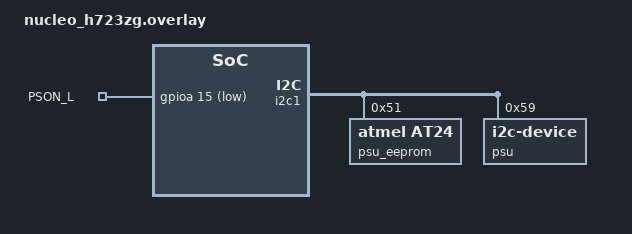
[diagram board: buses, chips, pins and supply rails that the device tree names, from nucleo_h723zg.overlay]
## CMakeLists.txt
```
# SPDX-License-Identifier: Apache-2.0

cmake_minimum_required(VERSION 3.20.0)

find_package(Zephyr REQUIRED HINTS $ENV{ZEPHYR_BASE})
find_package(Python REQUIRED COMPONENTS Interpreter)

project(psucontrol)

target_sources(app PRIVATE
  src/main.c
  src/psu.c
)

set(gen_dir ${ZEPHYR_BINARY_DIR}/include/generated/)

target_link_libraries(app PRIVATE zephyr_interface zephyr)

zephyr_linker_sources(SECTIONS sections-rom.ld)
zephyr_linker_section(
  NAME http_resource_desc_psu_http_service
  KVMA RAM_REGION GROUP RODATA_REGION
)

foreach(web_resource
  index.html
  main.js
)
  generate_inc_file_for_target(app
    src/static_web_resources/${web_resource}
    ${gen_dir}/${web_resource}.gz.inc
    --gzip
  )
endforeach()
```

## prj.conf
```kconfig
# General config
CONFIG_MAIN_STACK_SIZE=2048
CONFIG_SYSTEM_WORKQUEUE_STACK_SIZE=2048
CONFIG_NET_RX_STACK_SIZE=2048
CONFIG_NET_TX_STACK_SIZE=2048
CONFIG_HEAP_MEM_POOL_SIZE=32768
CONFIG_SHELL=y
CONFIG_LOG=y
CONFIG_FPU=y
CONFIG_ENTROPY_GENERATOR=y
CONFIG_TEST_RANDOM_GENERATOR=n
CONFIG_INIT_STACKS=y
CONFIG_THREAD_STACK_INFO=y
CONFIG_THREAD_MONITOR=y
CONFIG_POSIX_API=y
CONFIG_ZVFS_POLL_MAX=48
CONFIG_ZVFS_EVENTFD_MAX=16

# Eventfd
CONFIG_EVENTFD=y

# Networking config
CONFIG_NETWORKING=y
CONFIG_NET_MGMT_EVENT_INFO=y
CONFIG_NET_CONNECTION_MANAGER=y
CONFIG_NET_IPV4=y
CONFIG_NET_IPV4_IGMP=y
CONFIG_NET_IPV4_MTU=1500
CONFIG_NET_IPV6=n
CONFIG_NET_TCP=y
CONFIG_NET_SOCKETS=y
CONFIG_NET_SHELL=y
CONFIG_NET_STATISTICS=y
CONFIG_NET_STATISTICS_USER_API=y
CONFIG_NET_LOG=y

# JSON
CONFIG_JSON_LIBRARY=y

# HTTP parser
CONFIG_HTTP_PARSER_URL=y
CONFIG_HTTP_PARSER=y
CONFIG_HTTP_SERVER=y

# Network buffers
CONFIG_NET_PKT_RX_COUNT=64
CONFIG_NET_PKT_TX_COUNT=32
CONFIG_NET_BUF_RX_COUNT=512
CONFIG_NET_BUF_TX_COUNT=256
CONFIG_NET_CONTEXT_NET_PKT_POOL=y
CONFIG_NET_BUF_POOL_USAGE=y
CONFIG_NET_DEBUG_NET_PKT_ALLOC=y

# IP address options
CONFIG_NET_IF_MCAST_IPV4_ADDR_COUNT=8
CONFIG_NET_IF_MAX_IPV4_COUNT=3
CONFIG_NET_MAX_CONTEXTS=64
CONFIG_NET_MAX_CONN=64

# Network address config
CONFIG_NET_CONFIG_SETTINGS=y
CONFIG_NET_CONFIG_NEED_IPV4=y
CONFIG_NET_DHCPV4=y
CONFIG_MDNS_RESPONDER=y
CONFIG_DNS_SD=y
CONFIG_MDNS_RESPONDER_DNS_SD=y
CONFIG_NET_SOCKETS_POLL_MAX=16
CONFIG_NET_HOSTNAME="t0-psu-"
CONFIG_NET_HOSTNAME_UNIQUE=y

# Networking tweaks
CONFIG_NET_TCP_TIME_WAIT_DELAY=0

# Device drivers
CONFIG_GPIO=y
CONFIG_LED=y
CONFIG_I2C=y
CONFIG_I2C_SHELL=y
CONFIG_EEPROM=y

# Network debug config
CONFIG_MDNS_RESPONDER_LOG_LEVEL_INF=y
CONFIG_DNS_SD_LOG_LEVEL_INF=y
```

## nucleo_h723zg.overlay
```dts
/* I2C power supply overlay */

/ {
	psu_control {
		compatible = "gpio-keys";
		pson_l: pson_l {
			gpios = <&gpioa 15 GPIO_ACTIVE_LOW>;
			label = "PSON_L";
		};
	};
};

&i2c1 {
	status = "okay";

	psu_eeprom: eeprom@51 {
		compatible = "atmel,at24";
		reg = <0x51>;  /* 0xa2 >> 1 */
		size = <256>;
		pagesize = <16>;
		address-width = <8>;
		timeout = <5>;
	};

	psu: power-supply@59 {
		compatible = "i2c-device";
		reg = <0x59>;  /* 0xb2 >> 1 - PMBus device */
		status = "okay";
	};
};
```

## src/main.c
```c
/*
 * Copyright (c) 2023, Emna Rekik
 * Copyright (c) 2024, Nordic Semiconductor
 * Copyright (c) 2026, t0.technology
 *
 * SPDX-License-Identifier: Apache-2.0
 */

#include <stdio.h>
#include <inttypes.h>

#include <zephyr/data/json.h>
#include <zephyr/device.h>
#include <zephyr/drivers/led.h>
#include <zephyr/kernel.h>
#include <zephyr/logging/log.h>
#include <zephyr/net/conn_mgr_connectivity.h>
#include <zephyr/net/dns_sd.h>
#include <zephyr/net/hostname.h>
#include <zephyr/net/http/server.h>
#include <zephyr/net/http/service.h>
#include <zephyr/net/mdns_responder.h>
#include <zephyr/net/net_config.h>
#include <zephyr/net/net_ip.h>
#include <zephyr/net/net_mgmt.h>
#include <zephyr/net/socket.h>
#include <zephyr/sys/util.h>
#include <zephyr/sys/util_macro.h>

#include "psu.h"

#include <zephyr/logging/log.h>
LOG_MODULE_REGISTER(psu_control, LOG_LEVEL_DBG);

struct psu_command {
	bool output_state;
};

static const struct json_obj_descr psu_command_descr[] = {
	JSON_OBJ_DESCR_PRIM(struct psu_command, output_state, JSON_TOK_TRUE),
};

struct psu_reg_command {
    uint8_t reg;
    uint16_t value;
};

static const struct json_obj_descr psu_reg_command_descr[] = {
    JSON_OBJ_DESCR_PRIM(struct psu_reg_command, reg, JSON_TOK_NUMBER),
    JSON_OBJ_DESCR_PRIM(struct psu_reg_command, value, JSON_TOK_NUMBER),
};

static void parse_psu_reg_post(uint8_t *buf, size_t len)
{
    struct psu_reg_command cmd;
    int ret;

    const int expected = BIT_MASK(ARRAY_SIZE(psu_reg_command_descr));

    ret = json_obj_parse(buf, len,
                         psu_reg_command_descr,
                         ARRAY_SIZE(psu_reg_command_descr),
                         &cmd);

    if (ret != expected) {
        LOG_WRN("Invalid register JSON, ret=%d", ret);
        return;
    }

    LOG_INF("Testing reg 0x%02X with value 0x%04X", cmd.reg, cmd.value);

    psu_test_register(cmd.reg, cmd.value);
}

static const struct device *leds_dev = DEVICE_DT_GET_ANY(gpio_leds);

static uint8_t index_html_gz[] = {
#include "index.html.gz.inc"
};

static uint8_t main_js_gz[] = {
#include "main.js.gz.inc"
};

static struct http_resource_detail_static index_html_gz_resource_detail = {
	.common = {
			.type = HTTP_RESOURCE_TYPE_STATIC,
			.bitmask_of_supported_http_methods = BIT(HTTP_GET),
			.content_encoding = "gzip",
			.content_type = "text/html",
		},
	.static_data = index_html_gz,
	.static_data_len = sizeof(index_html_gz),
};

static struct http_resource_detail_static main_js_gz_resource_detail = {
	.common = {
			.type = HTTP_RESOURCE_TYPE_STATIC,
			.bitmask_of_supported_http_methods = BIT(HTTP_GET),
			.content_encoding = "gzip",
			.content_type = "text/javascript",
		},
	.static_data = main_js_gz,
	.static_data_len = sizeof(main_js_gz),
};

static int uptime_handler(struct http_client_ctx *client, enum http_transaction_status status,
			  const struct http_request_ctx *request_ctx,
			  struct http_response_ctx *response_ctx, void *user_data)
{
	int ret;
	static uint8_t uptime_buf[64];

	if (status == HTTP_SERVER_TRANSACTION_ABORTED ||
	    status == HTTP_SERVER_TRANSACTION_COMPLETE) {
		return 0;
	}

	/* A payload is not expected with the GET request. Ignore any data and wait until
	 * final callback before sending response
	 */
	if (status == HTTP_SERVER_REQUEST_DATA_FINAL) {
		int64_t uptime_ms = k_uptime_get();
		int64_t total_seconds = uptime_ms / 1000;
		int hours = total_seconds / 3600;
		int minutes = (total_seconds % 3600) / 60;
		int seconds = total_seconds % 60;

		ret = snprintf(uptime_buf, sizeof(uptime_buf), "%d:%02d:%02d",
			       hours, minutes, seconds);
		if (ret < 0)
			return ret;

		response_ctx->body = uptime_buf;
		response_ctx->body_len = ret;
		response_ctx->final_chunk = true;
	}

	return 0;
}

static struct http_resource_detail_dynamic uptime_resource_detail = {
	.common = {
			.type = HTTP_RESOURCE_TYPE_DYNAMIC,
			.bitmask_of_supported_http_methods = BIT(HTTP_GET),
		},
	.cb = uptime_handler,
	.user_data = NULL,
};

static void parse_psu_post(uint8_t *buf, size_t len)
{
	int ret;
	struct psu_command cmd;
	const int expected_return_code = BIT_MASK(ARRAY_SIZE(psu_command_descr));

	ret = json_obj_parse(buf, len, psu_command_descr, ARRAY_SIZE(psu_command_descr), &cmd);
	if (ret != expected_return_code) {
		LOG_WRN("Failed to fully parse JSON payload, ret=%d", ret);
		return;
	}

	LOG_INF("POST request setting PSU output to %d", cmd.output_state);

	/* Control PSU output */
	ret = psu_set_output(cmd.output_state);
	if (ret < 0)
		LOG_ERR("Failed to set PSU output: %d", ret);

	/* Also control LED if available */
	if (leds_dev != NULL) {
		if (cmd.output_state)
			led_on(leds_dev, 0);
		else
			led_off(leds_dev, 0);
	}
}

static int psu_control_handler(struct http_client_ctx *client, enum http_transaction_status status,
		       const struct http_request_ctx *request_ctx,
		       struct http_response_ctx *response_ctx, void *user_data)
{
	static uint8_t post_payload_buf[32];
	static size_t cursor;

	if (status == HTTP_SERVER_TRANSACTION_ABORTED ||
	    status == HTTP_SERVER_TRANSACTION_COMPLETE) {
		cursor = 0;
		return 0;
	}

	if (request_ctx->data_len + cursor > sizeof(post_payload_buf)) {
		cursor = 0;
		return -ENOMEM;
	}

	/* Copy payload to our buffer. Note that even for a small payload, it may arrive split into
	 * chunks (e.g. if the header size was such that the whole HTTP request exceeds the size of
	 * the client buffer).
	 */
	memcpy(post_payload_buf + cursor, request_ctx->data, request_ctx->data_len);
	cursor += request_ctx->data_len;

	if (status == HTTP_SERVER_REQUEST_DATA_FINAL) {
		parse_psu_post(post_payload_buf, cursor);
		cursor = 0;
	}

	return 0;
}

static struct http_resource_detail_dynamic psu_control_resource_detail = {
	.common = {
			.type = HTTP_RESOURCE_TYPE_DYNAMIC,
			.bitmask_of_supported_http_methods = BIT(HTTP_POST),
		},
	.cb = psu_control_handler,
	.user_data = NULL,
};

static int psu_telemetry_handler(struct http_client_ctx *client, enum http_transaction_status status,
				 const struct http_request_ctx *request_ctx,
				 struct http_response_ctx *response_ctx, void *user_data)
{
	static char json_buf[256];
	int ret;

	if (status == HTTP_SERVER_TRANSACTION_ABORTED ||
	    status == HTTP_SERVER_TRANSACTION_COMPLETE) {
		return 0;
	}

	if (status == HTTP_SERVER_REQUEST_DATA_FINAL) {
		float vin = 0, vout = 0, iout = 0, temp = 0,  oringtemp = 0, outlettemp = 0;
		int fan_rpm = 0;
		bool output_on = false;
		int ret_vin, ret_vout, ret_iout, ret_temp, ret_oringtemp, ret_outlettemp, ret_fan;

		/* Read all telemetry */
		ret_vin = psu_get_voltage_in(&vin);
		ret_vout = psu_get_voltage_out(&vout);
		ret_iout = psu_get_current_out(&iout);
		ret_temp = psu_get_temp_inlet(&temp); // can add other sensors too if desired
		ret_oringtemp = psu_get_temp_oring(&oringtemp);
		ret_outlettemp = psu_get_temp_outlet(&outlettemp);
		ret_fan = psu_get_fan_speed(&fan_rpm);
		psu_get_output_status(&output_on);

		char fault_buf[256];
		psu_get_faults(fault_buf, sizeof(fault_buf));

		// test buffer
		// snprintf(fault_buf, sizeof(fault_buf), "\"TESTING\"");

		/* Format as JSON - use integer formatting to avoid float printf */
		ret = snprintf(json_buf, sizeof(json_buf),
			"{\"vin\":%d.%02d,\"vout\":%d.%02d,\"iout\":%d.%03d,"
			"\"temp_inlet\":%d.%d,\"temp_oring\":%d.%d,\"temp_outlet\":%d.%d,"
			"\"fan_rpm\":%d,\"output_on\":%s,\"faults\":[%s]}",
			(int)vin, (int)(vin * 100) % 100,
			(int)vout, (int)(vout * 100) % 100,
			(int)iout, (int)(iout * 1000) % 1000,
			(int)temp, (int)(temp * 10) % 10,
			(int)oringtemp, (int)(oringtemp * 10) % 10,
			(int)outlettemp, (int)(outlettemp * 10) % 10,
			fan_rpm, output_on ? "true" : "false",
			fault_buf
		);

		if (ret < 0 || ret >= sizeof(json_buf)) {
			LOG_ERR("Failed to format PSU JSON");
			return -ENOMEM;
		}

		response_ctx->body = json_buf;
		response_ctx->body_len = ret;
		response_ctx->final_chunk = true;
	}

	return 0;
}

static int psu_clear_faults_handler(struct http_client_ctx *client,
				    enum http_transaction_status status,
				    const struct http_request_ctx *request_ctx,
				    struct http_response_ctx *response_ctx,
				    void *user_data)
{
	if (status == HTTP_SERVER_TRANSACTION_ABORTED ||
	    status == HTTP_SERVER_TRANSACTION_COMPLETE) {
		return 0;
	}

	if (status == HTTP_SERVER_REQUEST_DATA_FINAL) {
		int ret = reset_psu_faults();

		if (ret < 0) {
			LOG_ERR("Failed to clear PSU faults: %d", ret);
		} else {
			LOG_INF("PSU faults cleared");
		}

		/* Simple response */
		static const char response[] = "OK";
		response_ctx->body = response;
		response_ctx->body_len = sizeof(response) - 1;
		response_ctx->final_chunk = true;
	}

	return 0;
}


static struct http_resource_detail_dynamic psu_resource_detail = {
	.common = {
			.type = HTTP_RESOURCE_TYPE_DYNAMIC,
			.bitmask_of_supported_http_methods = BIT(HTTP_GET),
		},
	.cb = psu_telemetry_handler,
	.user_data = NULL,
};

static uint16_t psu_http_service_port = 80;
HTTP_SERVICE_DEFINE(psu_http_service, NULL, &psu_http_service_port,
		    CONFIG_HTTP_SERVER_MAX_CLIENTS, 10, NULL, NULL, NULL);

/* Dynamic DNS-SD service registration with unique instance name */
static char psu_service_instance[DNS_SD_INSTANCE_MAX_SIZE + 1];
static uint16_t psu_http_port_be;
static struct dns_sd_rec psu_service_record;
static bool service_registered;
static int network_connected_count = 0;
static struct http_resource_detail_dynamic psu_clear_faults_resource_detail = {
	.common = {
		.type = HTTP_RESOURCE_TYPE_DYNAMIC,
		.bitmask_of_supported_http_methods = BIT(HTTP_POST),
	},
	.cb = psu_clear_faults_handler,
	.user_data = NULL,
};

HTTP_RESOURCE_DEFINE(psu_clear_faults_resource,
		     psu_http_service,
		     "/psu-clear-faults",
		     &psu_clear_faults_resource_detail);

HTTP_RESOURCE_DEFINE(index_html_gz_resource, psu_http_service, "/",
		     &index_html_gz_resource_detail);

HTTP_RESOURCE_DEFINE(main_js_gz_resource, psu_http_service, "/main.js",
		     &main_js_gz_resource_detail);

HTTP_RESOURCE_DEFINE(uptime_resource, psu_http_service, "/uptime", &uptime_resource_detail);

HTTP_RESOURCE_DEFINE(psu_control_resource, psu_http_service, "/psu-control", &psu_control_resource_detail);

HTTP_RESOURCE_DEFINE(psu_resource, psu_http_service, "/psu", &psu_resource_detail);

/* Register DNS-SD service with unique instance name based on MAC address */
static void register_dns_sd_service(struct net_if *iface)
{
	struct net_linkaddr *lladdr;
	int pos;

	if (service_registered)
		return;

	lladdr = net_if_get_link_addr(iface);
	if (lladdr == NULL || lladdr->len == 0) {
		LOG_ERR("Failed to get link address for DNS-SD service registration");
		return;
	}

	/* Create unique service instance name: "t0-psu-<MAC>" */
	pos = snprintk(psu_service_instance, sizeof(psu_service_instance), "t0-psu-");
	for (int i = 0; i < lladdr->len && pos < sizeof(psu_service_instance) - 2; i++) {
		pos += snprintk(&psu_service_instance[pos],
				sizeof(psu_service_instance) - pos,
				"%02x", lladdr->addr[i]);
	}

	/* Setup service record */
	psu_http_port_be = sys_cpu_to_be16(psu_http_service_port);
	psu_service_record.instance = psu_service_instance;
	psu_service_record.service = "_t0-psu";
	psu_service_record.proto = "_tcp";
	psu_service_record.domain = "local";
	psu_service_record.text = dns_sd_empty_txt;
	psu_service_record.text_size = sizeof(dns_sd_empty_txt);
	psu_service_record.port = &psu_http_port_be;

	/* Register with mDNS responder */
	if (mdns_responder_set_ext_records(&psu_service_record, 1) == 0)
		service_registered = true;
}

/* Set unique hostname based on MAC address */
static void set_unique_hostname(struct net_if *iface)
{
	struct net_linkaddr *lladdr;

	lladdr = net_if_get_link_addr(iface);
	if (lladdr == NULL || lladdr->len == 0) {
		LOG_ERR("Failed to get link address for hostname");
		return;
	}

	/* Set hostname postfix using MAC address (will be hex-encoded) */
	net_hostname_set_postfix(lladdr->addr, lladdr->len);
}

/* Handle network connected/disconnected events */
static void network_event_handler(struct net_mgmt_event_callback *cb,
				  uint64_t mgmt_event, struct net_if *iface)
{
	if (mgmt_event == NET_EVENT_L4_CONNECTED) {
		char addr_str[NET_IPV4_ADDR_LEN];
		struct net_if_ipv4 *ipv4 = iface->config.ip.ipv4;

		network_connected_count++;

		LOG_INF("=== Network Connected Event #%d (uptime=%" PRId64 "ms) ===",
			network_connected_count, k_uptime_get());
		LOG_INF("  Interface: %d (%p)", net_if_get_by_iface(iface), iface);

		if (ipv4 && ipv4->unicast[0].ipv4.addr_state == NET_ADDR_PREFERRED) {
			net_addr_ntop(AF_INET, &ipv4->unicast[0].ipv4.address.in_addr,
				      addr_str, sizeof(addr_str));
			LOG_INF("  IP Address: %s", addr_str);
		}

		/* Set unique hostname before announcing */
		set_unique_hostname(iface);

		/* Register DNS-SD service - no manual IF_UP trigger needed */
		register_dns_sd_service(iface);
	} else if (mgmt_event == NET_EVENT_L4_DISCONNECTED) {
		LOG_WRN("=== Network Disconnected Event (uptime=%" PRId64 "ms) ===",
			k_uptime_get());
		service_registered = false;
	}
}

static struct net_mgmt_event_callback network_cb;

static int network_setup(void)
{
	net_mgmt_init_event_callback(&network_cb, network_event_handler,
				     NET_EVENT_L4_CONNECTED | NET_EVENT_L4_DISCONNECTED);
	net_mgmt_add_event_callback(&network_cb);
	return 0;
}

static int psu_test_reg_handler(struct http_client_ctx *client,
    enum http_transaction_status status,
    const struct http_request_ctx *request_ctx,
    struct http_response_ctx *response_ctx,
    void *user_data)
{
    static uint8_t buf[32];
    static size_t cursor;

    if (status == HTTP_SERVER_TRANSACTION_ABORTED ||
        status == HTTP_SERVER_TRANSACTION_COMPLETE) {
        cursor = 0;
        return 0;
    }

    if (request_ctx->data_len + cursor > sizeof(buf)) {
        cursor = 0;
        return -ENOMEM;
    }

    memcpy(buf + cursor, request_ctx->data, request_ctx->data_len);
    cursor += request_ctx->data_len;

    if (status == HTTP_SERVER_REQUEST_DATA_FINAL) {
        parse_psu_reg_post(buf, cursor);
        cursor = 0;

        static const char response[] = "OK";
        response_ctx->body = response;
        response_ctx->body_len = sizeof(response) - 1;
        response_ctx->final_chunk = true;
    }

    return 0;
}

static struct http_resource_detail_dynamic psu_test_reg_resource_detail = {
    .common = {
        .type = HTTP_RESOURCE_TYPE_DYNAMIC,
        .bitmask_of_supported_http_methods = BIT(HTTP_POST),
    },
    .cb = psu_test_reg_handler,
    .user_data = NULL,
};

HTTP_RESOURCE_DEFINE(psu_test_reg_resource,
    psu_http_service,
    "/psu-test-register",
    &psu_test_reg_resource_detail);

SYS_INIT(network_setup, APPLICATION, CONFIG_APPLICATION_INIT_PRIORITY);

int main(void)
{
	LOG_INF("=== PSU Controller Starting ===");
	LOG_INF("  Build: %s %s", __DATE__, __TIME__);
	LOG_INF("  HTTP Port: %d", psu_http_service_port);

	psu_test();
	http_server_start();

	LOG_INF("HTTP server started");
	return 0;
}
```

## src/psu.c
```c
/*
 * PSU Interface Implementation
 */

#include "psu.h"
#include <zephyr/kernel.h>
#include <zephyr/device.h>
#include <zephyr/drivers/i2c.h>
#include <zephyr/drivers/eeprom.h>
#include <zephyr/drivers/gpio.h>
#include <zephyr/logging/log.h>
#include <string.h>
#include <math.h>

LOG_MODULE_REGISTER(psu, LOG_LEVEL_INF);

#define PSU_EEPROM_NODE DT_NODELABEL(psu_eeprom)
#define PSU_NODE DT_NODELABEL(psu)
#define PSON_L_NODE DT_NODELABEL(pson_l)

#define ADDSTAT(msg) offset += snprintf(buf+offset, buflen-offset, "%s\"%s\"", offset ? "," : "", msg)

static const struct device *eeprom_dev = DEVICE_DT_GET(PSU_EEPROM_NODE);

static const struct device *psu_i2c_dev = DEVICE_DT_GET(DT_BUS(PSU_NODE));
static const uint8_t psu_addr = DT_REG_ADDR(PSU_NODE);

static const struct gpio_dt_spec pson_l = GPIO_DT_SPEC_GET(PSON_L_NODE, gpios);

void psu_test(void)
{
	/* Initialize PSON_L GPIO */
	if (gpio_is_ready_dt(&pson_l)) {
		gpio_pin_configure_dt(&pson_l, GPIO_OUTPUT_ACTIVE); /* <-- Setting PSON_L to ON on startup!*/
		LOG_INF("PSON_L GPIO (PA15) initialized - PSU enabled");
	} else {
		LOG_ERR("PSON_L GPIO not ready");
	}

	uint8_t data[32];
	int ret;

	if (device_is_ready(eeprom_dev)) {
		ret = eeprom_read(eeprom_dev, 0, data, sizeof(data));
		if (ret == 0) {
			LOG_INF("PSU EEPROM (0x51) accessible");
			LOG_HEXDUMP_INF(data, sizeof(data), "EEPROM data:");
		} else {
			LOG_ERR("Failed to read PSU EEPROM: %d", ret);
		}
	} else {
		LOG_ERR("PSU EEPROM device not ready");
	}

	uint8_t value;
	char mfr_id[32], mfr_model[32], mfr_rev[32], mfr_serial[32];

	if (device_is_ready(psu_i2c_dev)) {
		/* Try to read PMBus CAPABILITY register (0x19) using I2C */
		uint8_t cmd = 0x19;
		int ret = i2c_write_read(psu_i2c_dev, psu_addr, &cmd, 1, &value, 1);
		if (ret == 0) {
			LOG_INF("PMBus PSU (0x59) accessible, CAPABILITY=0x%02x", value);
		} else {
			LOG_ERR("Failed to read PMBus PSU: %d", ret);
		}

		/* Read manufacturer information */
		if (psu_get_mfr_id(mfr_id, sizeof(mfr_id)) == 0) {
			LOG_INF("MFR_ID: %s", mfr_id);
		}
		if (psu_get_mfr_model(mfr_model, sizeof(mfr_model)) == 0) {
			LOG_INF("MFR_MODEL: %s", mfr_model);
		}
		if (psu_get_mfr_revision(mfr_rev, sizeof(mfr_rev)) == 0) {
			LOG_INF("MFR_REVISION: %s", mfr_rev);
		}
		if (psu_get_mfr_serial(mfr_serial, sizeof(mfr_serial)) == 0) {
			LOG_INF("MFR_SERIAL: %s", mfr_serial);
		}
	} else {
		LOG_ERR("PSU I2C bus not ready");
	}
}

int psu_read_byte(uint8_t reg, uint8_t *value)
{
	if (!device_is_ready(psu_i2c_dev))
		return -ENODEV;

	return i2c_write_read(psu_i2c_dev, psu_addr, &reg, 1, value, 1);
}

int psu_read_word(uint8_t reg, uint16_t *value)
{
	uint8_t data[2];
	int ret;

	if (!device_is_ready(psu_i2c_dev)) {
		return -ENODEV;
	}

	ret = i2c_write_read(psu_i2c_dev, psu_addr, &reg, 1, data, 2);
	if (ret == 0) {
		/* PMBus uses little-endian byte order */
		*value = data[0] | (data[1] << 8);
	}
	if (ret != 0) {
		LOG_ERR("I2C read failed: reg=0x%02x err=%d", reg, ret);
	}
	return ret;
}

int psu_write_byte(uint8_t reg, uint8_t value)
{
	uint8_t data[2] = {reg, value};

	if (!device_is_ready(psu_i2c_dev)) {
		return -ENODEV;
	}
	return i2c_write(psu_i2c_dev, data, 2, psu_addr);
}

int psu_write_word(uint8_t reg, uint16_t value)
{
	uint8_t data[3];
    data[0] = reg;
    data[1] = value & 0xFF;        // LSB
    data[2] = (value >> 8) & 0xFF; // MSB

    if (!device_is_ready(psu_i2c_dev)) {
        return -ENODEV;
    }

    return i2c_write(psu_i2c_dev, data, 3, psu_addr);
}

/* PMBus block read - first byte is length */
static int psu_block_read(uint8_t reg, uint8_t *data, size_t max_len)
{
	uint8_t len;
	int ret;

	if (!device_is_ready(psu_i2c_dev)) {
		return -ENODEV;
	}

	/* Read length byte first */
	ret = i2c_write_read(psu_i2c_dev, psu_addr, &reg, 1, &len, 1);
	if (ret != 0) {
		return ret;
	}

	if (len == 0 || len > max_len) {
		return -EINVAL;
	}

	/* Read the actual data */
	ret = i2c_write_read(psu_i2c_dev, psu_addr, &reg, 1, data, len + 1);
	if (ret == 0) {
		/* First byte is length, shift data down */
		memmove(data, data + 1, len);
		data[len] = '\0'; /* Null terminate */
	}
	return ret;
}

int psu_eeprom_read(uint32_t offset, uint8_t *data, size_t len)
{
	if (!device_is_ready(eeprom_dev)) {
		return -ENODEV;
	}
	return eeprom_read(eeprom_dev, offset, data, len);
}

/* Convert PMBus LINEAR11 format to float */
static float linear11_to_float(uint16_t value)
{
	int16_t exponent = (value >> 11) & 0x1F;  /* Extract 5-bit exponent */
	int16_t mantissa = value & 0x7FF;         /* Extract 11-bit mantissa */

	/* Sign extend exponent from 5 bits to 16 bits */
	if (exponent & 0x10) {
		exponent |= 0xFFE0;  /* Sign extend from bit 4 */
	}

	/* Sign extend mantissa from 11 bits to 16 bits */
	if (mantissa & 0x400) {
		mantissa |= 0xF800;  /* Sign extend from bit 10 */
	}

	return (float)mantissa * powf(2.0f, (float)exponent);
}

/* PMBus Telemetry Functions */
int psu_get_voltage_in(float *volts)
{
	uint16_t raw;
	int ret = psu_read_word(0x88, &raw); /* READ_VIN */
	if (ret == 0) {
		*volts = linear11_to_float(raw);
		LOG_DBG("VIN raw=0x%04x decoded=%.2f", raw, (double)*volts);
	}
	return ret;
}

int psu_get_voltage_out(float *volts)
{
	uint16_t raw;
	uint8_t vout_mode;
	int ret;

	/* Read VOUT_MODE to get exponent */
	ret = psu_read_byte(0x20, &vout_mode);
	if (ret != 0) {
		return ret;
	}

	ret = psu_read_word(0x8B, &raw); /* READ_VOUT */
	if (ret == 0) {
		/* VOUT uses LINEAR16 format with mode-specific exponent */
		int8_t exponent = (int8_t)(vout_mode & 0x1F);
		/* Sign extend from 5 bits */
		if (exponent & 0x10) {
			exponent |= 0xE0;
		}
		*volts = (float)(int16_t)raw * powf(2.0f, (float)exponent);
		LOG_DBG("VOUT mode=0x%02x raw=0x%04x exp=%d decoded=%.2f",
			vout_mode, raw, exponent, (double)*volts);
	}
	return ret;
}

int psu_get_current_out(float *amps)
{
	uint16_t raw;
	int ret = psu_read_word(0x8C, &raw); /* READ_IOUT */
	if (ret == 0) {
		*amps = linear11_to_float(raw);
	}
	return ret;
}

int psu_get_temp_sensor(uint8_t reg, float *celsius) {
    uint16_t raw;
    int ret = psu_read_word(reg, &raw);
    if (ret == 0) {
        *celsius = linear11_to_float(raw);
    }
    return ret;
}

int psu_get_temp_inlet(float *celsius) {
	return psu_get_temp_sensor(0x8D, celsius);
}

int psu_get_temp_oring(float *celsius) {
	return psu_get_temp_sensor(0x8E, celsius);
}

int psu_get_temp_outlet(float *celsius) {
	return psu_get_temp_sensor(0x8F, celsius);
}

// int psu_get_temperature(float *celsius)
// {
// 	uint16_t raw;
// 	int ret = psu_read_word(0x8D, &raw); /* READ_TEMPERATURE_1 */
// 	if (ret == 0) {
// 		*celsius = linear11_to_float(raw);
// 	}
// 	return ret;
// }

int psu_get_fan_speed(int *rpm)
{
	uint16_t raw;
	int ret = psu_read_word(0x90, &raw); /* READ_FAN_SPEED_1 */
	if (ret == 0) {
		*rpm = (int)linear11_to_float(raw);
	}
	return ret;
}

int psu_set_output(bool enable)
{
	int ret = 0;

	/* Control PSON_L pin (active low) */
	if (gpio_is_ready_dt(&pson_l)) {
		if (enable) {
			gpio_pin_set_dt(&pson_l, 1); /* Active = LOW, so set=1 enables */
		} else {
			gpio_pin_set_dt(&pson_l, 0); /* Inactive = HIGH, so set=0 disables */
		}
		LOG_INF("PSON_L set to %s", enable ? "ACTIVE (PSU ON)" : "INACTIVE (PSU OFF)");
	}

	/* Also send PMBus OPERATION command */
	uint8_t value = enable ? 0x80 : 0x00;
	ret = psu_write_byte(0x01, value);

	return ret;
}

int psu_get_output_status(bool *enabled)
{
	uint8_t status;
	int ret = psu_read_byte(0x78, &status); /* STATUS_BYTE */
	if (ret == 0) {
		/* Bit 6 = OFF, Bit 7 = VOUT_OV_FAULT */
		bool off = status & 0x40;
		bool fault = status & 0x80;
		*enabled = !off && !fault;
	}
	return ret;
}

// Faults and Statuses
int psu_clear_faults(void) {
    uint8_t data[1] = {0x03};
    return i2c_write(psu_i2c_dev, data, 1, psu_addr);
}

int psu_disable_output(void) {
	uint8_t data[2];

	// OPERATION command = 0x01
	data[0] = 0x01;
	data[1] = 0x00; // Turn OFF (bit 7 = 0)

	return i2c_write(psu_i2c_dev, data, 2, psu_addr);
}

int reset_psu_faults(void) {
	psu_clear_faults();
	k_usleep(100000); // 100ms delay
	return psu_disable_output();
}


int psu_get_status_word(uint16_t *status) { // faults
	return psu_read_word(0x79, status);
}
int psu_get_status_vout(uint8_t *status) { // over/under voltage
    return psu_read_byte(0x7A, status);
}
int psu_get_status_iout(uint8_t *status) { // over/under current
    return psu_read_byte(0x7B, status);
}
int psu_get_status_vin(uint8_t *status) { // over/under voltage and input fault
    return psu_read_byte(0x7C, status);
}
int psu_get_status_temp(uint8_t *status) { // overtemperature
    return psu_read_byte(0x7D, status);
}
int psu_get_status_fan(uint8_t *status) { // fan fault
    return psu_read_byte(0x81, status);
}

int psu_get_faults(char *buf, size_t buflen){
    uint8_t vout, vin, temp, iout, fan;
    size_t offset = 0;

    if (psu_get_status_vout(&vout) == 0) { // source: https://pmbus.org/wp-content/uploads/2021/04/PMBus_Specification_Part_II_Rev_1-1_20070205.pdf
        if (vout & 0x80) ADDSTAT("VOUT Overvoltage fault");
        if (vout & 0x40) ADDSTAT("VOUT Overvoltage warning");
		if (vout & 0x20) ADDSTAT("VOUT Undervoltage warning");
        if (vout & 0x10) ADDSTAT("VOUT Undervoltage fault");
    }
    if (psu_get_status_vin(&vin) == 0) {
        if (vin & 0x80) ADDSTAT("VIN Overvoltage fault");
        if (vin & 0x40) ADDSTAT("VIN Overvoltage warning");
		if (vin & 0x20) ADDSTAT("VIN Undervoltage warning");
		if (vin & 0x10) ADDSTAT("VIN Undervoltage fault");
    }
    if (psu_get_status_temp(&temp) == 0) {
        if (temp & 0x80) ADDSTAT("Overtemperature fault");
        if (temp & 0x40) ADDSTAT("Overtemperature warning");
    }
    if (psu_get_status_iout(&iout) == 0) { // 1: POUT OP fault; 0: POUT OP warning
        if (iout & 0x80) ADDSTAT("Overcurrent fault");
		// if (iout & 0x40) ADDSTAT("Overcurrent and Low Voltage Shutdown fault");
        if (iout & 0x20) ADDSTAT("Overcurrent warning");
		if (iout & 0x10) ADDSTAT("Undercurrent fault");
		if (iout & 0x08) ADDSTAT("Current Share Fault");
		if (iout & 0x04) ADDSTAT("In Power Limiting Mode");
		if (iout & 0x01) ADDSTAT("POUT OP warning");
    }
    if (psu_get_status_fan(&fan) == 0) {
        if (fan & 0x80) ADDSTAT("Fan fault"); // Fan 1 fault. Ignoring Fans 2, 3, 4 (unsure if even present)
        if (fan & 0x20) ADDSTAT("Fan warning"); // Fan 1 warning
    }

    if (offset == 0) {
        buf[0] = '\0';
    } else if (offset < buflen) {
        buf[offset] = '\0';
    } else {
        buf[buflen - 1] = '\0';
    }

    return 0;
}

/* Manufacturer Information Functions */
int psu_get_mfr_id(char *buf, size_t buflen)
{
	return psu_block_read(0x99, (uint8_t *)buf, buflen - 1);
}

int psu_get_mfr_model(char *buf, size_t buflen)
{
	return psu_block_read(0x9A, (uint8_t *)buf, buflen - 1);
}

int psu_get_mfr_revision(char *buf, size_t buflen)
{
	return psu_block_read(0x9B, (uint8_t *)buf, buflen - 1);
}

int psu_get_mfr_serial(char *buf, size_t buflen)
{
	return psu_block_read(0x9E, (uint8_t *)buf, buflen - 1);
}


// TESTING PSU FAN-WRITE
void psu_test_register(uint8_t reg, uint16_t value)
{
    int ret;

    LOG_INF("Testing reg 0x%02X with value 0x%04X", reg, value);

    ret = psu_write_word(reg, value);
    if (ret != 0) {
        LOG_ERR("Write failed: %d", ret);
        return;
    }

    k_msleep(200); // let PSU react

    int rpm;
    if (psu_get_fan_speed(&rpm) == 0) {
        LOG_INF("Fan RPM after write: %d", rpm);
    }

    float temp;
    if (psu_get_temp_outlet(&temp) == 0) {
        LOG_INF("Outlet temp: %.2f C", temp);
    }
}
```

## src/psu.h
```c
/*
 * PSU Interface
 */

#ifndef PSU_H
#define PSU_H

#include <stdint.h>
#include <stddef.h>
#include <stdbool.h>

/* Test PSU communication */
void psu_test(void);

/* Low-level register access */
int psu_read_byte(uint8_t reg, uint8_t *value);
int psu_read_word(uint8_t reg, uint16_t *value);
int psu_write_byte(uint8_t reg, uint8_t value);
int psu_eeprom_read(uint32_t offset, uint8_t *data, size_t len);

// Higher level functions
void psu_test_register(uint8_t reg, uint16_t value);

/* PMBus telemetry functions */
int psu_get_voltage_in(float *volts);      /* READ_VIN */
int psu_get_voltage_out(float *volts);     /* READ_VOUT */
int psu_get_current_out(float *amps);      /* READ_IOUT */
int psu_get_temp_inlet(float *celsius);    /* READ_TEMPERATURE_1 */
int psu_get_temp_oring(float *celsius);    /* READ_TEMPERATURE_2 */
int psu_get_temp_outlet(float *celsius);   /* READ_TEMPERATURE_3 */
int psu_get_fan_speed(int *rpm);           /* READ_FAN_SPEED_1 */

/* Fault function */
int psu_get_faults(char *buf, size_t buflen);
int reset_psu_faults(void);

/* PSU control */
int psu_set_output(bool enable);                /* OPERATION register */
int psu_get_output_status(bool *enabled);       /* STATUS_BYTE */

/* Manufacturer information (PMBus block reads) */
int psu_get_mfr_id(char *buf, size_t buflen);       /* 0x99 */
int psu_get_mfr_model(char *buf, size_t buflen);    /* 0x9A */
int psu_get_mfr_revision(char *buf, size_t buflen); /* 0x9B */
int psu_get_mfr_serial(char *buf, size_t buflen);   /* 0x9E */

#endif /* PSU_H */
```
